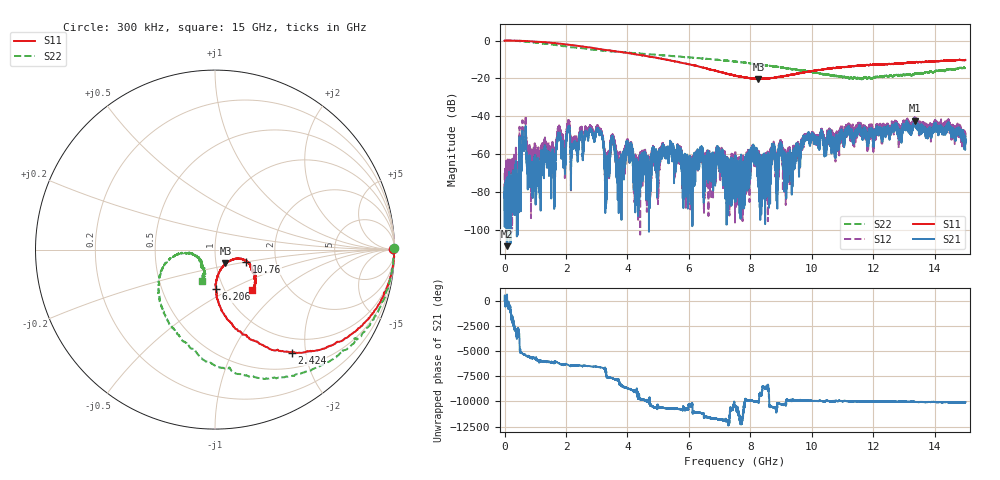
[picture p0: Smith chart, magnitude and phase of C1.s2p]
!Agilent Technologies,N5230C,SG49000117,A.08.50.07
!Agilent N5230C: A.08.50.07
!Date: Monday, December 11, 2023 22:55:43
!Correction: S11(Full 2 Port(1,2))
!S21(Full 2 Port(1,2))
!S12(Full 2 Port(1,2))
!S22(Full 2 Port(1,2))
!S2P File: Measurements: S11, S21, S12, S22:
# Hz S  RI  R 50
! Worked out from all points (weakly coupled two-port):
!   20001 points, 300 kHz to 15 GHz, reference 50 ohm
!   highest |S21| = -42.28 dB at 13.36 GHz (marker M1); lowest = -108.6 dB at 88.05 MHz (marker M2)
!   lowest |S11| = -20.3 dB at 8.261 GHz (marker M3), VSWR 1.21, Z = 55.5 - j8.6 ohm
!   |S11| at or under -10 dB: 5.22986 GHz to 5.230026 GHz (166.7 kHz wide, 0.00319 % of centre); 5.23254 GHz to 5.234948 GHz (2.409 MHz wide, 0.046 % of centre); 5.236 GHz to end of sweep
!   |S22| runs from -20.5 to 0.0 dB; largest |S21 - S12| = 0.005
!   S11 on the Smith chart (normalised r, x): 300 kHz: open; 2.424 GHz: 0.74, -1.75; 6.206 GHz: 0.92, -0.42; 10.76 GHz: 1.41, -0.19; 15 GHz: 1.33, -0.66
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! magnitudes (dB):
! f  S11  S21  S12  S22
! 300 kHz  -0.1  -83.0  -69.9  0.0
! 88.05 MHz  0.0  -108.6  -68.0  0.0
! 455.5 MHz  -0.1  -74.5  -67.6  -0.3
! 636.3 MHz  -0.2  -56.3  -51.4  -0.5
! 899.5 MHz  -0.5  -67.6  -58.8  -0.9
! 2.424 GHz  -2.9  -53.5  -49.3  -3.9
! 2.501 GHz  -3.1  -48.2  -45.9  -4.0
! 3.082 GHz  -4.5  -49.1  -47.6  -5.2
! 3.337 GHz  -5.1  -64.0  -61.0  -5.5
! 3.518 GHz  -5.5  -51.6  -51.6  -5.8
! 3.718 GHz  -5.9  -82.6  -63.2  -6.1
! 4.032 GHz  -6.7  -58.5  -55.2  -6.4
! 4.326 GHz  -7.5  -69.1  -68.4  -6.8
! 5 GHz  -9.3  -65.0  -67.3  -7.7
! 6.206 GHz  -13.2  -64.5  -64.5  -9.2
! 7.5 GHz  -18.5  -74.5  -96.1  -11.1
! 8.261 GHz  -20.3  -67.7  -66.6  -12.6
! 10 GHz  -16.2  -50.2  -49.8  -16.6
! 10.76 GHz  -14.6  -53.1  -56.4  -18.8
! 12.5 GHz  -12.4  -48.9  -48.8  -18.9
! 13.36 GHz  -11.5  -42.3  -41.5  -17.5
! 15 GHz  -10.3  -53.4  -51.3  -14.6
